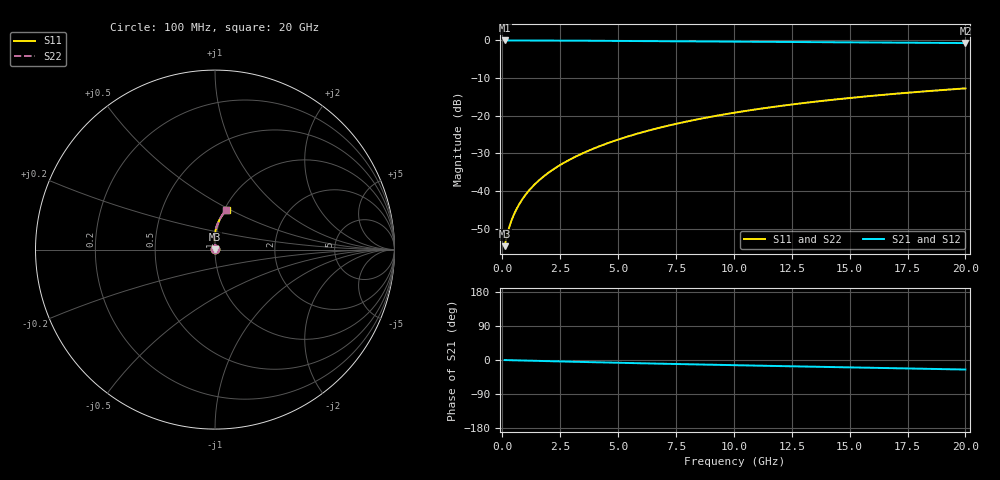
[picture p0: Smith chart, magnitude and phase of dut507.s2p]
! Touchstone file exported from HFSS 2024.1.0
!  File:  C:/UserFiles/LocalFiles/RDL_TSV_Batchsim/temp_RDL_bottom_507_1779687516.aedt
!  Generated:  01:41:19 PM May 25, 2026
!  Design:  RDL_bottom
!  Project:  temp_RDL_bottom_507_1779687516
!  Setup:  Setup1
!  Solution:  Sweep
! Variables:
!  dtsv = 10.80580581um
!  hbump = 3um
!  htsv = 86.64um
!  ldown = 337.58um
!  lrdl = 100um
!  p = 40
!  p1 = 55.8um
!  rhole = 1um
!  t = 450um
!  tdown = 3.13um
!  trdl = 3.915915916um
!  wdown = 29.69um
!  wrdl = 20um
# GHz S MA R 50.000000
! Terminal data exported
! Port[1] = RDL1_T1
! Port[2] = RDL1_T2
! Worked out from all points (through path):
!   200 points, 100 MHz to 20 GHz, reference 50 ohm
!   highest |S21| = -0.01 dB at 100 MHz (marker M1); lowest = -0.7 dB at 20 GHz (marker M2)
!   group delay of S21, straight-line fit = 3.44 ps
!   lowest |S11| = -54.6 dB at 100 MHz (marker M3), VSWR 1.00, Z = 50.2 + j0.1 ohm
!   |S11| at or under -10 dB: start of sweep to end of sweep
!   |S22| runs from -54.6 to -12.7 dB; largest |S21 - S12| = 4.4e-15
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0.1  0.001865 32.4  0.9984 -0.2  0.9984 -0.2  0.001865 32.4
! Gamma 0 0 0 0
! Port Impedance 50 0 50 0
0.2  0.002557 49.5  0.9983 -0.3  0.9983 -0.3  0.002557 49.5
0.3  0.003327 58.4  0.9982 -0.5  0.9982 -0.5  0.003327 58.4
0.4  0.004105 63.9  0.998 -0.6  0.998 -0.6  0.004105 64.0
0.5  0.004887 68.0  0.9979 -0.8  0.9979 -0.8  0.004887 68.0
0.6  0.005675 71.0  0.9978 -0.9  0.9978 -0.9  0.005675 71.1
0.8  0.00728 75.6  0.9975 -1.2  0.9975 -1.2  0.00728 75.6
1.1  0.009758 80.1  0.9971 -1.7  0.9971 -1.7  0.009758 80.1
1.3  0.01145 82.2  0.9968 -2.0  0.9968 -2.0  0.01145 82.2
1.6  0.01405 84.6  0.9962 -2.4  0.9962 -2.4  0.01405 84.6
2.1  0.01853 87.3  0.9951 -3.2  0.9951 -3.2  0.01853 87.4
2.7  0.02416 89.5  0.9934 -4.1  0.9934 -4.1  0.02417 89.5
3.5  0.03212 91.2  0.9907 -5.2  0.9907 -5.2  0.03213 91.3
4.2  0.03949 92.1  0.988 -6.2  0.988 -6.2  0.03951 92.1
5  0.04834 92.4  0.9847 -7.3  0.9847 -7.3  0.04837 92.5
6.8  0.06956 91.8  0.9767 -9.7  0.9767 -9.7  0.06962 91.9
8.4  0.08939 90.2  0.9695 -11.7  0.9695 -11.7  0.08948 90.3
10.1  0.1109 88.0  0.9621 -13.8  0.9621 -13.8  0.111 88.1
11.7  0.1311 85.7  0.9553 -15.7  0.9553 -15.7  0.1313 85.8
13.4  0.1525 83.2  0.9484 -17.7  0.9484 -17.7  0.1527 83.3
16.7  0.1927 78.4  0.9353 -21.5  0.9353 -21.5  0.193 78.5
20  0.2311 73.8  0.9222 -25.2  0.9222 -25.2  0.2314 73.9
